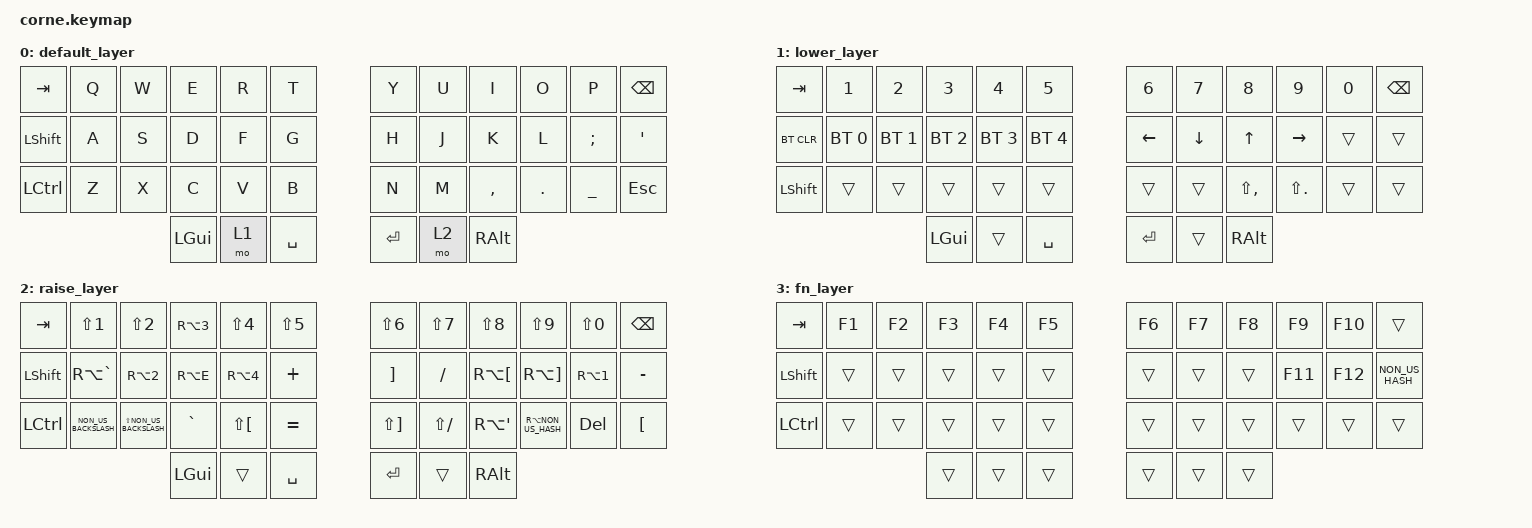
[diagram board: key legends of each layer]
/*
 * Copyright (c) 2020 The ZMK Contributors
 *
 * SPDX-License-Identifier: MIT
 */

#include <behaviors.dtsi>
#include <dt-bindings/zmk/keys.h>
#include <dt-bindings/zmk/bt.h>

/ {
    locales {
        compatible = "zmk,locales";
        active-locale = "es";
    };

    conditional_layers {
        compatible = "zmk,conditional-layers";
        tri_layer {
            if-layers = <1 2>;
            then-layer = <3>;
        };
    };

    keymap {
        compatible = "zmk,keymap";

        default_layer {
// -----------------------------------------------------------------------------------------
// |  TAB |  Q  |  W  |  E  |  R  |  T  |   |  Y  |  U  |  I  |  O  |  P  | BSPC |
// | SHFT |  A  |  S  |  D  |  F  |  G  |   |  H  |  J  |  K  |  L  |  ñ  |  ´   |
// | CTRL |  Z  |  X  |  C  |  V  |  B  |   |  N  |  M  |  ,  |  .  |  ?  | ESC  |
//                    | GUI | LWR | SPC |   | ENT | RSE | ALT |
            bindings = <
                &kp TAB   &kp Q &kp W &kp E &kp R &kp T    &kp Y &kp U  &kp I     &kp O   &kp P      &kp BSPC
                &kp LSHFT &kp A &kp S &kp D &kp F &kp G    &kp H &kp J  &kp K     &kp L   &kp SEMI   &kp SQT
                &kp LCTRL &kp Z &kp X &kp C &kp V &kp B    &kp N &kp M  &kp COMMA &kp DOT &kp UNDER  &kp ESC
                &kp LGUI &mo 1 &kp SPACE    &kp RET &mo 2 &kp RALT
            >;
        };

        lower_layer {
// -----------------------------------------------------------------------------------------
// |  TAB |  1  |  2  |  3  |  4  |  5  |   |  6  |  7  |  8  |  9  |  0  | BSPC |
// | BTCLR| BT1 | BT2 | BT3 | BT4 | BT5 |   | LFT | DWN |  UP | RGT |     |      |
// | SHFT |     |     |     |     |     |   |     |     |  ;  |  :  |     |      |
//                    | GUI |     | SPC |   | ENT |     | ALT |
            bindings = <
                &kp TAB       &kp N1           &kp N2           &kp N3           &kp N4           &kp N5           &kp N6      &kp N7      &kp N8        &kp N9        &kp N0     &kp BSPC
                &bt BT_CLR    &bt BT_SEL 0     &bt BT_SEL 1     &bt BT_SEL 2     &bt BT_SEL 3     &bt BT_SEL 4     &kp LEFT    &kp DOWN    &kp UP        &kp RIGHT     &trans     &trans
                &kp LSHFT     &trans           &trans           &trans           &trans           &trans           &trans      &trans      &kp LS(COMMA) &kp LS(DOT)   &trans     &trans
                                   &kp LGUI     &trans           &kp SPACE        &kp RET          &trans           &kp RALT
            >;
        };

        raise_layer {
// -----------------------------------------------------------------------------------------
// |  TAB |  !  |  "  |  #  |  $  |  %  |   |  &  |  /  |  (  |  )  |  =  | BSPC |
// | SHFT |  \  |  @  |  €  |  ~  |  ¿  |   |  +  |  -  |  [  |  ]  | "|" |  '   |
// | CTRL |  <  |  >  |  º  |  ^  |  ¡  |   |  *  |  _  |  {  |  }  | Spr |  `   |
//                    | GUI |     | SPC |   | ENT |     | ALT |
            bindings = <
                &kp TAB       &kp LS(N1)             &kp LS(N2)               &kp RA(N3)       &kp LS(N4)        &kp LS(N5)       &kp LS(N6)      &kp LS(N7)    &kp LS(N8)     &kp LS(N9)          &kp LS(N0)     &kp BSPC
                &kp LSHFT     &kp RA(GRAVE)          &kp RA(N2)               &kp RA(E)        &kp RA(N4)        &kp PLUS         &kp RBKT        &kp FSLH      &kp RA(LBKT)   &kp RA(RBKT)        &kp RA(N1)     &kp MINUS
                &kp LCTRL     &kp NON_US_BACKSLASH   &kp LS(NON_US_BACKSLASH) &kp GRAVE        &kp LS(LBKT)        &kp EQUAL        &kp LS(RBKT)    &kp LS(FSLH)  &kp RA(SQT)    &kp RA(NON_US_HASH) &kp DEL        &kp LBKT
                                    &kp LGUI  &trans            &kp SPACE        &kp RET           &trans           &kp RALT
            >;
        };

        fn_layer {
// -----------------------------------------------------------------------------------------
// |  TAB | F1  | F2  | F3  | F4  | F5  |   | F6  | F7  | F8  | F9  | F10 |      |
// | SHFT |     |     |     |     |     |   |     |     |     | F11 | F12 |  ç   |
// | CTRL |     |     |     |     |     |   |     |     |     |     |     |      |
//                    |     |     |     |   |     |     |     |
            bindings = <
                &kp TAB    &kp F1  &kp F2  &kp F3  &kp F4  &kp F5   &kp F6  &kp F7  &kp F8  &kp F9  &kp F10  &trans
                &kp LSHFT  &trans  &trans  &trans  &trans  &trans   &trans  &trans  &trans  &kp F11 &kp F12  &kp NON_US_HASH
                &kp LCTRL  &trans  &trans  &trans  &trans  &trans   &trans  &trans  &trans  &trans  &trans   &trans
                                   &trans  &trans  &trans           &trans  &trans  &trans
            >;
        };

    };
};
